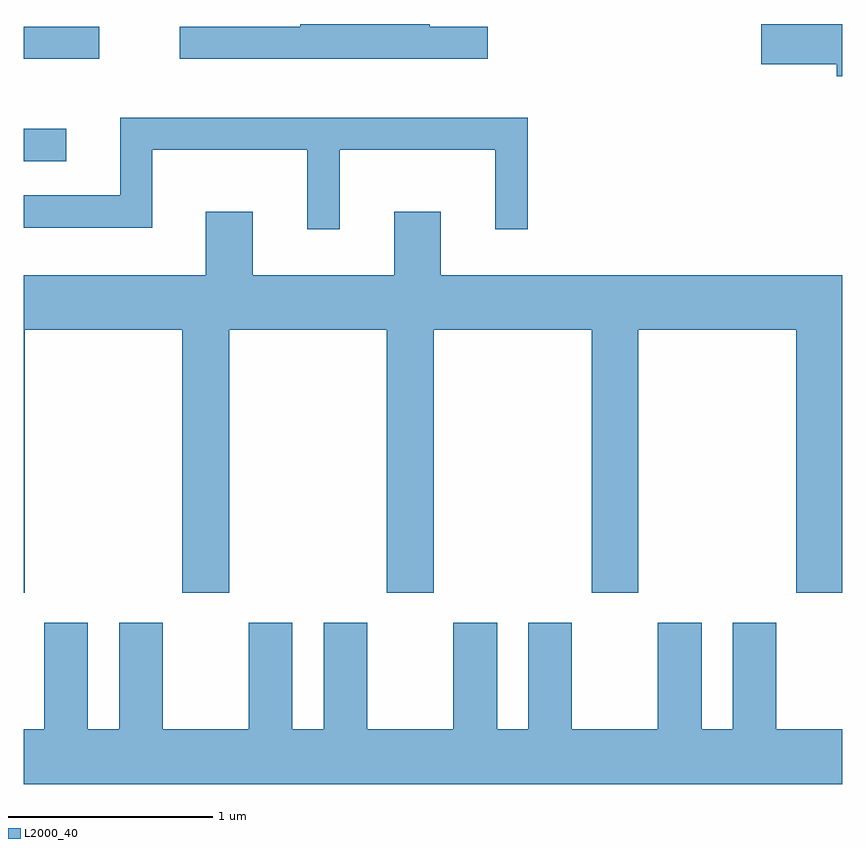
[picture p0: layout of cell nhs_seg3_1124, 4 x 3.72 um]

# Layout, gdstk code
import gdstk
lib = gdstk.Library(unit=1e-6, precision=1e-09)
def R(c, l, rs):  # rectangles x0, y0, x1, y1
    for r in rs: c.add(gdstk.rectangle(r[:2], r[2:], *l))
def P(c, l, *ps):  # polygons
    for p in ps: c.add(gdstk.Polygon(p, *l))
L2000_40 = (2000, 40)

nhs_seg3_1124 = lib.new_cell('nhs_seg3_1124')
R(nhs_seg3_1124, L2000_40, [(217.611,1191.221,217.818,1191.379), (217.611,1191.721,217.978,1191.879)])
P(nhs_seg3_1124, L2000_40, [(219.878,1191.879),(219.594,1191.879),(219.594,1191.892),(218.961,1191.892),(218.961,1191.879),(218.373,1191.879),(218.373,1191.721),(219.878,1191.721)],
  [(221.611,1191.892),(221.216,1191.892),(221.216,1191.696),(221.586,1191.696),(221.586,1191.636),(221.611,1191.636)],
  [(219.154,1191.276),(219.916,1191.276),(219.916,1190.888),(220.074,1190.888),(220.074,1191.434),(218.081,1191.434),(218.081,1191.054),(217.611,1191.054),(217.611,1190.896),(218.239,1190.896),(218.239,1191.276),(218.996,1191.276),(218.996,1190.888),(219.154,1190.888)],
  [(217.614,1190.396),(218.386,1190.396),(218.386,1189.111),(218.614,1189.111),(218.614,1190.396),(219.386,1190.396),(219.386,1189.111),(219.614,1189.111),(219.614,1190.396),(220.386,1190.396),(220.386,1189.111),(220.614,1189.111),(220.614,1190.396),(221.386,1190.396),(221.386,1189.111),(221.611,1189.111),(221.611,1190.664),(219.649,1190.664),(219.649,1190.974),(219.421,1190.974),(219.421,1190.664),(218.729,1190.664),(218.729,1190.974),(218.501,1190.974),(218.501,1190.664),(217.611,1190.664),(217.611,1189.111),(217.614,1189.111)],
  [(221.611,1188.444),(221.289,1188.444),(221.289,1188.964),(221.076,1188.964),(221.076,1188.444),(220.924,1188.444),(220.924,1188.964),(220.711,1188.964),(220.711,1188.444),(220.289,1188.444),(220.289,1188.964),(220.076,1188.964),(220.076,1188.444),(219.924,1188.444),(219.924,1188.964),(219.711,1188.964),(219.711,1188.444),(219.289,1188.444),(219.289,1188.964),(219.076,1188.964),(219.076,1188.444),(218.924,1188.444),(218.924,1188.964),(218.711,1188.964),(218.711,1188.444),(218.289,1188.444),(218.289,1188.964),(218.076,1188.964),(218.076,1188.444),(217.924,1188.444),(217.924,1188.964),(217.711,1188.964),(217.711,1188.444),(217.611,1188.444),(217.611,1188.176),(221.611,1188.176)])

lib.write_gds('nhs_seg3_1124.gds')
